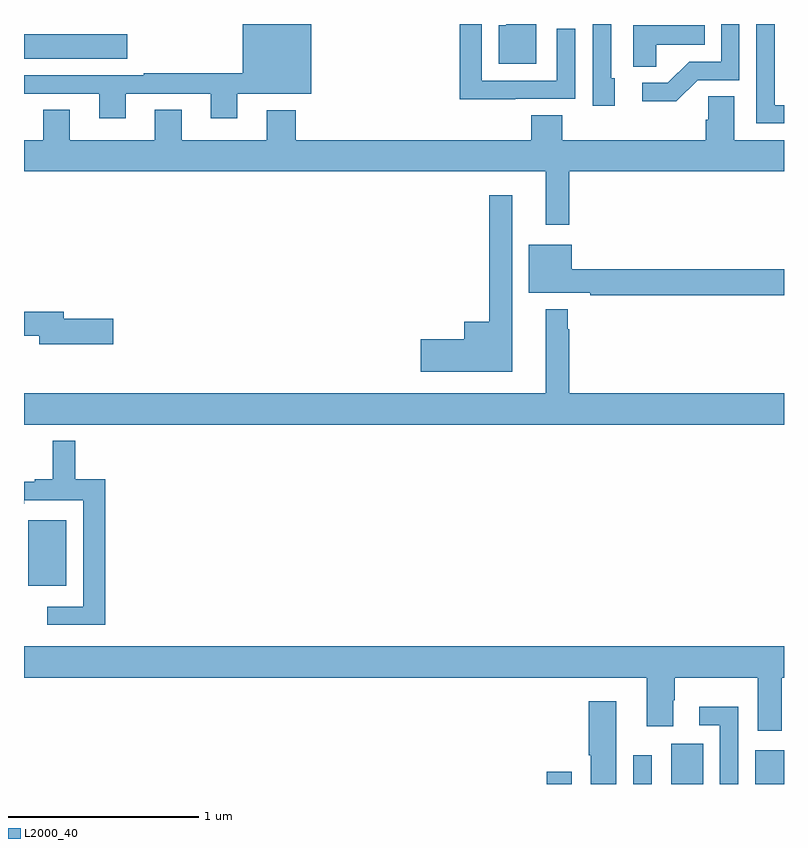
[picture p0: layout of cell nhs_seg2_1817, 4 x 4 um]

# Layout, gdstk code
import gdstk
lib = gdstk.Library(unit=1e-6, precision=1e-09)
def R(c, l, rs):  # rectangles x0, y0, x1, y1
    for r in rs: c.add(gdstk.rectangle(r[:2], r[2:], *l))
def P(c, l, *ps):  # polygons
    for p in ps: c.add(gdstk.Polygon(p, *l))
L2000_40 = (2000, 40)

nhs_seg2_1817 = lib.new_cell('nhs_seg2_1817')
R(nhs_seg2_1817, L2000_40, [(209.75,589.8,209.884,589.864), (210.207,589.8,210.303,589.951), (210.407,589.8,210.574,590.011), (210.848,589.8,211,589.978), (207.023,590.843,207.223,591.187), (207,593.618,207.544,593.746)])
P(nhs_seg2_1817, L2000_40, [(209.695,593.8),(209.537,593.8),(209.537,593.794),(209.498,593.794),(209.498,593.591),(209.695,593.591)],
  [(210.546,593.505),(210.765,593.505),(210.765,593.8),(210.669,593.8),(210.669,593.601),(210.5,593.601),(210.389,593.49),(210.255,593.49),(210.255,593.393),(210.433,593.393)],
  [(207.535,593.433),(207.983,593.433),(207.983,593.304),(208.123,593.304),(208.123,593.432),(208.513,593.432),(208.513,593.8),(208.151,593.8),(208.151,593.542),(207.631,593.542),(207.631,593.529),(207,593.529),(207,593.433),(207.395,593.433),(207.395,593.304),(207.535,593.304)],
  [(210.109,593.514),(210.09,593.514),(210.09,593.8),(209.994,593.8),(209.994,593.37),(210.109,593.37)],
  [(211,593.373),(210.951,593.373),(210.951,593.8),(210.855,593.8),(210.855,593.277),(211,593.277)],
  [(209.585,593.406),(209.901,593.406),(209.901,593.776),(209.805,593.776),(209.805,593.502),(209.409,593.502),(209.409,593.8),(209.293,593.8),(209.293,593.405),(209.585,593.405)],
  [(210.327,593.69),(210.584,593.69),(210.584,593.794),(210.206,593.794),(210.206,593.575),(210.327,593.575)],
  [(209.869,593.024),(211,593.024),(211,593.188),(210.739,593.188),(210.739,593.42),(210.6,593.42),(210.6,593.297),(210.587,593.297),(210.587,593.188),(209.834,593.188),(209.834,593.321),(209.669,593.321),(209.669,593.188),(208.43,593.188),(208.43,593.347),(208.277,593.347),(208.277,593.188),(207.829,593.188),(207.829,593.348),(207.689,593.348),(207.689,593.188),(207.241,593.188),(207.241,593.348),(207.101,593.348),(207.101,593.188),(207,593.188),(207,593.024),(209.747,593.024),(209.747,592.743),(209.869,592.743)],
  [(209.569,592.9),(209.448,592.9),(209.448,592.234),(209.318,592.234),(209.318,592.142),(209.088,592.142),(209.088,591.971),(209.569,591.971)],
  [(211,592.508),(209.884,592.508),(209.884,592.639),(209.657,592.639),(209.657,592.385),(209.98,592.385),(209.98,592.372),(211,592.372)],
  [(211,591.856),(209.869,591.856),(209.869,592.193),(209.862,592.193),(209.862,592.3),(209.747,592.3),(209.747,591.856),(207,591.856),(207,591.692),(211,591.692)],
  [(207.469,592.25),(207.208,592.25),(207.208,592.286),(207,592.286),(207,592.158),(207.08,592.158),(207.08,592.115),(207.469,592.115)],
  [(207.428,591.403),(207.269,591.403),(207.269,591.607),(207.152,591.607),(207.152,591.403),(207.056,591.403),(207.056,591.39),(207,591.39),(207,591.274),(207.001,591.274),(207.001,591.294),(207.312,591.294),(207.312,590.733),(207.123,590.733),(207.123,590.637),(207.428,590.637)],
  [(210.989,590.36),(211,590.36),(211,590.524),(207,590.524),(207,590.36),(210.278,590.36),(210.278,590.103),(210.418,590.103),(210.418,590.24),(210.426,590.24),(210.426,590.36),(210.863,590.36),(210.863,590.079),(210.989,590.079)],
  [(210.118,590.236),(209.972,590.236),(209.972,589.951),(209.984,589.951),(209.984,589.8),(210.118,589.8)],
  [(210.759,590.206),(210.555,590.206),(210.555,590.109),(210.663,590.109),(210.663,589.8),(210.759,589.8)])

lib.write_gds('nhs_seg2_1817.gds')
